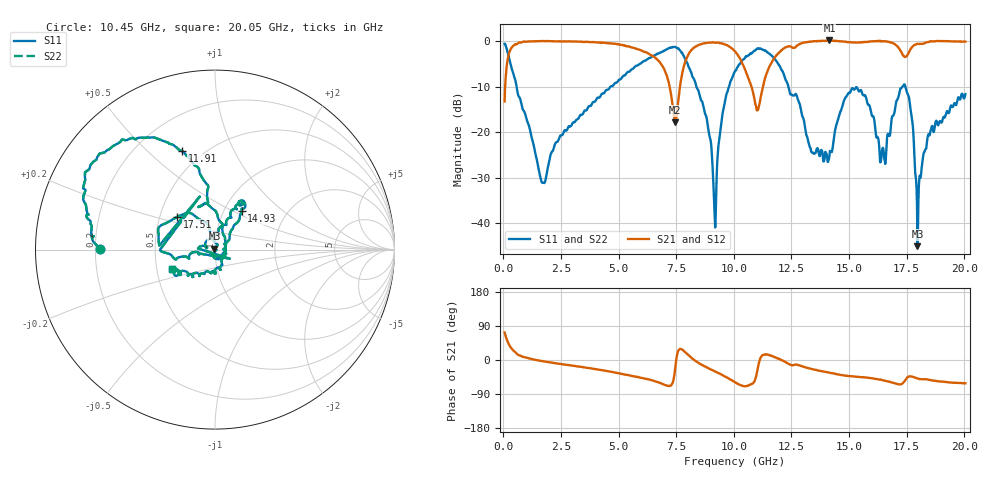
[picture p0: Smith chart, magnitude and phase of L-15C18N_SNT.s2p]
#	mhz	s	ma	r	50
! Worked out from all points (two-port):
!   1001 points, 50 MHz to 20.05 GHz, reference 50 ohm
!   highest |S21| = 0.22 dB at 14.15 GHz (marker M1); lowest = -17.8 dB at 7.45 GHz (marker M2)
!   |S21| within 3 dB of the highest: 233.5 MHz to 6.329 GHz (6.095 GHz wide, 186 % of centre); 11.9 GHz to 17.31 GHz (5.419 GHz wide, 37.1 % of centre) (the widest 2 of 4)
!   lowest |S11| = -45.0 dB at 17.97 GHz (marker M3), VSWR 1.01, Z = 49.7 + j0.453 ohm
!   |S11| at or under -10 dB: 571.5 MHz to 4.632 GHz (4.06 GHz wide, 156 % of centre); 12.37 GHz to 17.31 GHz (4.943 GHz wide, 33.3 % of centre); 17.45 GHz to end of sweep (the widest 3 of 4)
!   |S22| runs from -45.0 to -0.5 dB; largest |S21 - S12| = 0
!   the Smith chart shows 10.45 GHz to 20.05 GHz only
!   S11 on the Smith chart (normalised r, x): 10.45 GHz: 0.22, +0.00; 11.91 GHz: 0.39, +0.65; 14.93 GHz: 1.21, +0.56; 17.51 GHz: 0.62, +0.24; 20.05 GHz: 0.60, -0.14
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50  0.9402 166.9  0.2188 72.5  0.2188 72.5  0.9402 166.9
570  0.318 108.6  0.9329 16.9  0.9329 16.9  0.318 108.6
1710  0.02787 -0.1  1.008 -3.1  1.008 -3.1  0.02787 -0.1
3390  0.1553 -96.4  0.9927 -18.4  0.9927 -18.4  0.1553 -96.4
6730  0.7359 -151.3  0.6123 -59.3  0.6123 -59.3  0.7359 -151.3
7450  0.8691 166.0  0.129 -24.6  0.129 -24.6  0.8691 166.0
7890  0.6431 123.1  0.5984 20.9  0.5984 20.9  0.6431 123.1
8730  0.1693 69.1  0.955 -16.7  0.955 -16.7  0.1693 69.1
9170  0.01146 2.4  0.9698 -29.8  0.9698 -29.8  0.01146 2.4
9550  0.1804 -135.4  0.9431 -41.1  0.9431 -41.1  0.1804 -135.4
10050  0.472 -156.3  0.7812 -58.4  0.7812 -58.4  0.472 -156.3
10450  0.6427 179.9  0.5183 -69.1  0.5183 -69.1  0.6427 179.9
11030  0.8424 149.2  0.1759 -23.7  0.1759 -23.7  0.8424 149.2
11910  0.5765 108.3  0.7351 4.2  0.7351 4.2  0.5765 108.3
13390  0.05984 13.9  0.9984 -24.0  0.9984 -24.0  0.05984 13.9
14150  0.05509 10.7  1.026 -33.5  1.026 -33.5  0.05509 10.7
14930  0.2608 55.1  0.985 -42.1  0.985 -42.1  0.2608 55.1
16730  0.09213 -161.9  0.9901 -56.9  0.9901 -56.9  0.09213 -161.9
17510  0.278 138.8  0.6926 -47.2  0.6926 -47.2  0.278 138.8
17970  0.0056 125.4  0.9423 -48.5  0.9423 -48.5  0.0056 125.4
18510  0.09531 -68.8  0.9979 -52.7  0.9979 -52.7  0.09531 -68.8
20050  0.2629 -155.1  0.9952 -61.4  0.9952 -61.4  0.2629 -155.1
